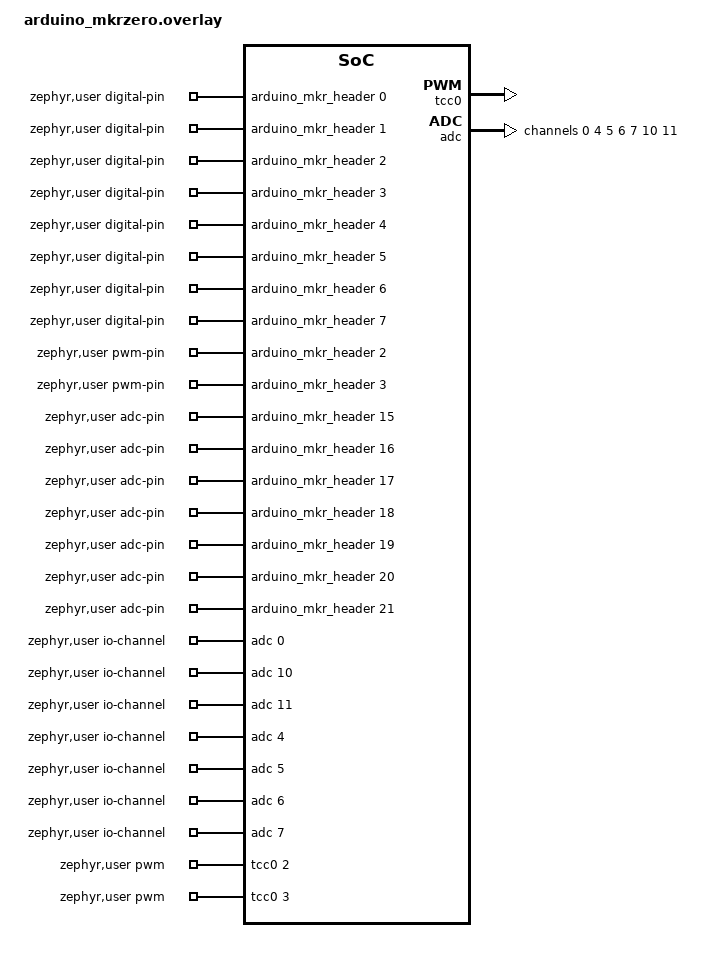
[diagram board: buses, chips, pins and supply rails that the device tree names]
/*
 * Copyright (c) 2022 Dhruva Gole <goledhruva@gmail.com>
 *
 * SPDX-License-Identifier: Apache-2.0
 */

#include <zephyr/dt-bindings/adc/adc.h>

/ {
	zephyr,user {
		digital-pin-gpios = <&arduino_mkr_header 0 0>,
				    <&arduino_mkr_header 1 0>,
				    <&arduino_mkr_header 2 0>,
				    <&arduino_mkr_header 3 0>,
				    <&arduino_mkr_header 4 0>,
				    <&arduino_mkr_header 5 0>,
				    <&arduino_mkr_header 6 0>,
				    <&arduino_mkr_header 7 0>,
				    <&arduino_mkr_header 8 0>,
				    <&arduino_mkr_header 9 0>,
				    <&arduino_mkr_header 10 0>,
				    <&arduino_mkr_header 11 0>,
				    <&arduino_mkr_header 12 0>,
				    <&arduino_mkr_header 13 0>,
				    <&arduino_mkr_header 14 0>, /* D14 / A0 */
				    <&arduino_mkr_header 15 0>,
				    <&arduino_mkr_header 16 0>,
				    <&arduino_mkr_header 17 0>,
				    <&arduino_mkr_header 18 0>, /* D18 / A4 / I2C-SDA */
				    <&arduino_mkr_header 19 0>, /* D19 / A5 / I2C-SCL */
				    <&arduino_mkr_header 20 0>,
				    <&arduino_mkr_header 21 0>,
				    <&portb 8 0>;

		pwm-pin-gpios =     <&arduino_mkr_header 2 0>,
				    <&arduino_mkr_header 3 0>;

		adc-pin-gpios =	    <&arduino_mkr_header 15 0>,
				    <&arduino_mkr_header 16 0>,
				    <&arduino_mkr_header 17 0>,
				    <&arduino_mkr_header 18 0>,
				    <&arduino_mkr_header 19 0>,
				    <&arduino_mkr_header 20 0>,
				    <&arduino_mkr_header 21 0>;

		pwms =	<&tcc0 2 255>,
			<&tcc0 3 255>;

		io-channels =	<&adc 0>,
				<&adc 10>,
				<&adc 11>,
				<&adc 4>,
				<&adc 5>,
				<&adc 6>,
				<&adc 7>;

		serials = <&sercom5>;
		i2cs = <&sercom0>;
	};
};

&pinctrl {
	pwm_default: pwm_default {
		group1 {
			pinmux = <PA10F_TCC0_WO2>,
				 <PA11F_TCC0_WO3>;
		};
	};

	adc_default: adc_default {
		group1 {
			pinmux = <PA2B_ADC_AIN0>,
				 <PB2B_ADC_AIN10>,
				 <PB3B_ADC_AIN11>,
				 <PA4B_ADC_AIN4>,
				 <PA5B_ADC_AIN5>,
				 <PA6B_ADC_AIN6>,
				 <PA7B_ADC_AIN7>;
		};
	};
};

&tcc0 {
	status = "okay";
	compatible = "atmel,sam0-tcc-pwm";
	prescaler = <2>;
	#pwm-cells = <2>;

	pinctrl-0 = <&pwm_default>;
	pinctrl-names = "default";
};

&adc {
	status = "okay";
	pinctrl-0 = <&adc_default>;
	pinctrl-names = "default";

	#address-cells = <1>;
	#size-cells = <0>;

	channel@0 {
		reg = <0x0>;
		zephyr,gain = "ADC_GAIN_1";
		zephyr,reference = "ADC_REF_INTERNAL";
		zephyr,acquisition-time = <ADC_ACQ_TIME_DEFAULT>;
		zephyr,resolution = <10>;
		zephyr,input-positive = <0>;
	};

	channel@4 {
		reg = <0x4>;
		zephyr,gain = "ADC_GAIN_1";
		zephyr,reference = "ADC_REF_INTERNAL";
		zephyr,acquisition-time = <ADC_ACQ_TIME_DEFAULT>;
		zephyr,resolution = <10>;
		zephyr,input-positive = <4>;
	};

	channel@5 {
		reg = <0x5>;
		zephyr,gain = "ADC_GAIN_1";
		zephyr,reference = "ADC_REF_INTERNAL";
		zephyr,acquisition-time = <ADC_ACQ_TIME_DEFAULT>;
		zephyr,resolution = <10>;
		zephyr,input-positive = <5>;
	};

	channel@6 {
		reg = <0x6>;
		zephyr,gain = "ADC_GAIN_1";
		zephyr,reference = "ADC_REF_INTERNAL";
		zephyr,acquisition-time = <ADC_ACQ_TIME_DEFAULT>;
		zephyr,resolution = <10>;
		zephyr,input-positive = <6>;
	};

	channel@7 {
		reg = <0x7>;
		zephyr,gain = "ADC_GAIN_1";
		zephyr,reference = "ADC_REF_INTERNAL";
		zephyr,acquisition-time = <ADC_ACQ_TIME_DEFAULT>;
		zephyr,resolution = <10>;
		zephyr,input-positive = <7>;
	};

	channel@a {
		reg = <0xa>;
		zephyr,gain = "ADC_GAIN_1";
		zephyr,reference = "ADC_REF_INTERNAL";
		zephyr,acquisition-time = <ADC_ACQ_TIME_DEFAULT>;
		zephyr,resolution = <10>;
		zephyr,input-positive = <10>;
	};

	channel@b {
		reg = <0xb>;
		zephyr,gain = "ADC_GAIN_1";
		zephyr,reference = "ADC_REF_INTERNAL";
		zephyr,acquisition-time = <ADC_ACQ_TIME_DEFAULT>;
		zephyr,resolution = <10>;
		zephyr,input-positive = <11>;
	};
};
